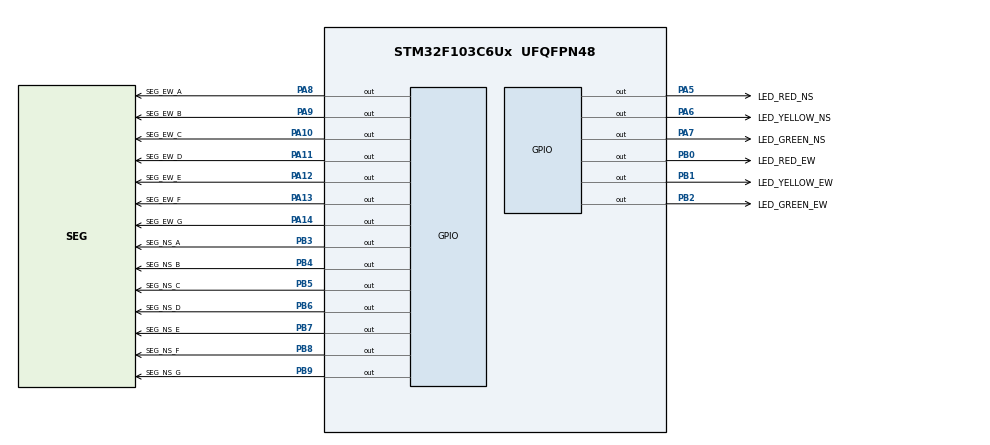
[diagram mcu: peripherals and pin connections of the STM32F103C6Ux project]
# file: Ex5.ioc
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Mcu.Family=STM32F1
Mcu.Name=STM32F103C6Ux
Mcu.Package=UFQFPN48
NVIC.PriorityGroup=NVIC_PRIORITYGROUP_4
PA10.GPIO_Label=SEG_EW_C
PA10.Signal=GPIO_Output
PA11.GPIO_Label=SEG_EW_D
PA11.Signal=GPIO_Output
PA12.GPIO_Label=SEG_EW_E
PA12.Signal=GPIO_Output
PA13.GPIO_Label=SEG_EW_F
PA13.Signal=GPIO_Output
PA14.GPIO_Label=SEG_EW_G
PA14.Signal=GPIO_Output
PA5.GPIO_Label=LED_RED_NS
PA5.Signal=GPIO_Output
PA6.GPIO_Label=LED_YELLOW_NS
PA6.Signal=GPIO_Output
PA7.GPIO_Label=LED_GREEN_NS
PA7.Signal=GPIO_Output
PA8.GPIO_Label=SEG_EW_A
PA8.Signal=GPIO_Output
PA9.GPIO_Label=SEG_EW_B
PA9.Signal=GPIO_Output
PB0.GPIO_Label=LED_RED_EW
PB0.Signal=GPIO_Output
PB1.GPIO_Label=LED_YELLOW_EW
PB1.Signal=GPIO_Output
PB2.GPIO_Label=LED_GREEN_EW
PB2.Signal=GPIO_Output
PB3.GPIO_Label=SEG_NS_A
PB3.Signal=GPIO_Output
PB4.GPIO_Label=SEG_NS_B
PB4.Signal=GPIO_Output
PB5.GPIO_Label=SEG_NS_C
PB5.Signal=GPIO_Output
PB6.GPIO_Label=SEG_NS_D
PB6.Signal=GPIO_Output
PB7.GPIO_Label=SEG_NS_E
PB7.Signal=GPIO_Output
PB8.GPIO_Label=SEG_NS_F
PB8.Signal=GPIO_Output
PB9.GPIO_Label=SEG_NS_G
PB9.Signal=GPIO_Output
ProjectManager.HeapSize=0x200
ProjectManager.StackSize=0x400
ProjectManager.TargetToolchain=STM32CubeIDE
RCC.APB1Freq_Value=8000000
RCC.APB2Freq_Value=8000000
VP_SYS_VS_ND.Mode=No_Debug
board=custom

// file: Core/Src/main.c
/* USER CODE BEGIN Header */
/**
  ******************************************************************************
  * @file           : main.c
  * @brief          : Main program body
  ******************************************************************************
  * @attention
  *
  * <h2><center>&copy; Copyright (c) 2026 STMicroelectronics.
  * All rights reserved.</center></h2>
  *
  * This software component is licensed by ST under BSD 3-Clause license,
  * the "License"; You may not use this file except in compliance with the
  * License. You may obtain a copy of the License at:
  *                        opensource.org/licenses/BSD-3-Clause
  *
  ******************************************************************************
  */
/* USER CODE END Header */
#include "main.h"

void SystemClock_Config(void);
static void MX_GPIO_Init(void);
/* USER CODE BEGIN PFP */
void display7SEG_NS(int num); // Hàm hiển thị LED 7 đoạn hướng Bắc - Nam
void display7SEG_EW(int num); // Hàm hiển thị LED 7 đoạn hướng Đông - Tây
/* USER CODE END PFP */

/* USER CODE BEGIN 0 */
// Hàm hiển thị LED 7 đoạn hướng Bắc - Nam (NS)
void display7SEG_NS(int num)
{
    if (num == 0)
    {
        HAL_GPIO_WritePin(SEG_NS_A_GPIO_Port, SEG_NS_A_Pin, GPIO_PIN_RESET);
        HAL_GPIO_WritePin(SEG_NS_B_GPIO_Port, SEG_NS_B_Pin, GPIO_PIN_RESET);
        HAL_GPIO_WritePin(SEG_NS_C_GPIO_Port, SEG_NS_C_Pin, GPIO_PIN_RESET);
        HAL_GPIO_WritePin(SEG_NS_D_GPIO_Port, SEG_NS_D_Pin, GPIO_PIN_RESET);
        HAL_GPIO_WritePin(SEG_NS_E_GPIO_Port, SEG_NS_E_Pin, GPIO_PIN_RESET);
        HAL_GPIO_WritePin(SEG_NS_F_GPIO_Port, SEG_NS_F_Pin, GPIO_PIN_RESET);
        HAL_GPIO_WritePin(SEG_NS_G_GPIO_Port, SEG_NS_G_Pin, GPIO_PIN_SET);
    }
    else if (num == 1)
    {
        HAL_GPIO_WritePin(SEG_NS_A_GPIO_Port, SEG_NS_A_Pin, GPIO_PIN_SET);
        HAL_GPIO_WritePin(SEG_NS_B_GPIO_Port, SEG_NS_B_Pin, GPIO_PIN_RESET);
        HAL_GPIO_WritePin(SEG_NS_C_GPIO_Port, SEG_NS_C_Pin, GPIO_PIN_RESET);
        HAL_GPIO_WritePin(SEG_NS_D_GPIO_Port, SEG_NS_D_Pin, GPIO_PIN_SET);
        HAL_GPIO_WritePin(SEG_NS_E_GPIO_Port, SEG_NS_E_Pin, GPIO_PIN_SET);
        HAL_GPIO_WritePin(SEG_NS_F_GPIO_Port, SEG_NS_F_Pin, GPIO_PIN_SET);
        HAL_GPIO_WritePin(SEG_NS_G_GPIO_Port, SEG_NS_G_Pin, GPIO_PIN_SET);
    }
    else if (num == 2)
    {
        HAL_GPIO_WritePin(SEG_NS_A_GPIO_Port, SEG_NS_A_Pin, GPIO_PIN_RESET);
        HAL_GPIO_WritePin(SEG_NS_B_GPIO_Port, SEG_NS_B_Pin, GPIO_PIN_RESET);
        HAL_GPIO_WritePin(SEG_NS_C_GPIO_Port, SEG_NS_C_Pin, GPIO_PIN_SET);
        HAL_GPIO_WritePin(SEG_NS_D_GPIO_Port, SEG_NS_D_Pin, GPIO_PIN_RESET);
        HAL_GPIO_WritePin(SEG_NS_E_GPIO_Port, SEG_NS_E_Pin, GPIO_PIN_RESET);
        HAL_GPIO_WritePin(SEG_NS_F_GPIO_Port, SEG_NS_F_Pin, GPIO_PIN_SET);
        HAL_GPIO_WritePin(SEG_NS_G_GPIO_Port, SEG_NS_G_Pin, GPIO_PIN_RESET);
    }
    else if (num == 3)
    {
        HAL_GPIO_WritePin(SEG_NS_A_GPIO_Port, SEG_NS_A_Pin, GPIO_PIN_RESET);
        HAL_GPIO_WritePin(SEG_NS_B_GPIO_Port, SEG_NS_B_Pin, GPIO_PIN_RESET);
        HAL_GPIO_WritePin(SEG_NS_C_GPIO_Port, SEG_NS_C_Pin, GPIO_PIN_RESET);
        HAL_GPIO_WritePin(SEG_NS_D_GPIO_Port, SEG_NS_D_Pin, GPIO_PIN_RESET);
        HAL_GPIO_WritePin(SEG_NS_E_GPIO_Port, SEG_NS_E_Pin, GPIO_PIN_SET);
        HAL_GPIO_WritePin(SEG_NS_F_GPIO_Port, SEG_NS_F_Pin, GPIO_PIN_SET);
        HAL_GPIO_WritePin(SEG_NS_G_GPIO_Port, SEG_NS_G_Pin, GPIO_PIN_RESET);
    }
    else if (num == 4)
    {
        HAL_GPIO_WritePin(SEG_NS_A_GPIO_Port, SEG_NS_A_Pin, GPIO_PIN_SET);
        HAL_GPIO_WritePin(SEG_NS_B_GPIO_Port, SEG_NS_B_Pin, GPIO_PIN_RESET);
        HAL_GPIO_WritePin(SEG_NS_C_GPIO_Port, SEG_NS_C_Pin, GPIO_PIN_RESET);
        HAL_GPIO_WritePin(SEG_NS_D_GPIO_Port, SEG_NS_D_Pin, GPIO_PIN_SET);
        HAL_GPIO_WritePin(SEG_NS_E_GPIO_Port, SEG_NS_E_Pin, GPIO_PIN_SET);
        HAL_GPIO_WritePin(SEG_NS_F_GPIO_Port, SEG_NS_F_Pin, GPIO_PIN_RESET);
        HAL_GPIO_WritePin(SEG_NS_G_GPIO_Port, SEG_NS_G_Pin, GPIO_PIN_RESET);
    }
    else if (num == 5)
    {
        HAL_GPIO_WritePin(SEG_NS_A_GPIO_Port, SEG_NS_A_Pin, GPIO_PIN_RESET);
        HAL_GPIO_WritePin(SEG_NS_B_GPIO_Port, SEG_NS_B_Pin, GPIO_PIN_SET);
        HAL_GPIO_WritePin(SEG_NS_C_GPIO_Port, SEG_NS_C_Pin, GPIO_PIN_RESET);
        HAL_GPIO_WritePin(SEG_NS_D_GPIO_Port, SEG_NS_D_Pin, GPIO_PIN_RESET);
        HAL_GPIO_WritePin(SEG_NS_E_GPIO_Port, SEG_NS_E_Pin, GPIO_PIN_SET);
        HAL_GPIO_WritePin(SEG_NS_F_GPIO_Port, SEG_NS_F_Pin, GPIO_PIN_RESET);
        HAL_GPIO_WritePin(SEG_NS_G_GPIO_Port, SEG_NS_G_Pin, GPIO_PIN_RESET);
    }
    else if (num == 6)
    {
        HAL_GPIO_WritePin(SEG_NS_A_GPIO_Port, SEG_NS_A_Pin, GPIO_PIN_RESET);
        HAL_GPIO_WritePin(SEG_NS_B_GPIO_Port, SEG_NS_B_Pin, GPIO_PIN_SET);
        HAL_GPIO_WritePin(SEG_NS_C_GPIO_Port, SEG_NS_C_Pin, GPIO_PIN_RESET);
        HAL_GPIO_WritePin(SEG_NS_D_GPIO_Port, SEG_NS_D_Pin, GPIO_PIN_RESET);
        HAL_GPIO_WritePin(SEG_NS_E_GPIO_Port, SEG_NS_E_Pin, GPIO_PIN_RESET);
        HAL_GPIO_WritePin(SEG_NS_F_GPIO_Port, SEG_NS_F_Pin, GPIO_PIN_RESET);
        HAL_GPIO_WritePin(SEG_NS_G_GPIO_Port, SEG_NS_G_Pin, GPIO_PIN_RESET);
    }
    else if (num == 7)
    {
        HAL_GPIO_WritePin(SEG_NS_A_GPIO_Port, SEG_NS_A_Pin, GPIO_PIN_RESET);
        HAL_GPIO_WritePin(SEG_NS_B_GPIO_Port, SEG_NS_B_Pin, GPIO_PIN_RESET);
        HAL_GPIO_WritePin(SEG_NS_C_GPIO_Port, SEG_NS_C_Pin, GPIO_PIN_RESET);
        HAL_GPIO_WritePin(SEG_NS_D_GPIO_Port, SEG_NS_D_Pin, GPIO_PIN_SET);
        HAL_GPIO_WritePin(SEG_NS_E_GPIO_Port, SEG_NS_E_Pin, GPIO_PIN_SET);
        HAL_GPIO_WritePin(SEG_NS_F_GPIO_Port, SEG_NS_F_Pin, GPIO_PIN_SET);
        HAL_GPIO_WritePin(SEG_NS_G_GPIO_Port, SEG_NS_G_Pin, GPIO_PIN_SET);
    }
    else if (num == 8)
    {
        HAL_GPIO_WritePin(SEG_NS_A_GPIO_Port, SEG_NS_A_Pin, GPIO_PIN_RESET);
        HAL_GPIO_WritePin(SEG_NS_B_GPIO_Port, SEG_NS_B_Pin, GPIO_PIN_RESET);
        HAL_GPIO_WritePin(SEG_NS_C_GPIO_Port, SEG_NS_C_Pin, GPIO_PIN_RESET);
        HAL_GPIO_WritePin(SEG_NS_D_GPIO_Port, SEG_NS_D_Pin, GPIO_PIN_RESET);
        HAL_GPIO_WritePin(SEG_NS_E_GPIO_Port, SEG_NS_E_Pin, GPIO_PIN_RESET);
        HAL_GPIO_WritePin(SEG_NS_F_GPIO_Port, SEG_NS_F_Pin, GPIO_PIN_RESET);
        HAL_GPIO_WritePin(SEG_NS_G_GPIO_Port, SEG_NS_G_Pin, GPIO_PIN_RESET);
    }
    else if (num == 9)
    {
        HAL_GPIO_WritePin(SEG_NS_A_GPIO_Port, SEG_NS_A_Pin, GPIO_PIN_RESET);
        HAL_GPIO_WritePin(SEG_NS_B_GPIO_Port, SEG_NS_B_Pin, GPIO_PIN_RESET);
        HAL_GPIO_WritePin(SEG_NS_C_GPIO_Port, SEG_NS_C_Pin, GPIO_PIN_RESET);
        HAL_GPIO_WritePin(SEG_NS_D_GPIO_Port, SEG_NS_D_Pin, GPIO_PIN_RESET);
        HAL_GPIO_WritePin(SEG_NS_E_GPIO_Port, SEG_NS_E_Pin, GPIO_PIN_SET);
        HAL_GPIO_WritePin(SEG_NS_F_GPIO_Port, SEG_NS_F_Pin, GPIO_PIN_RESET);
        HAL_GPIO_WritePin(SEG_NS_G_GPIO_Port, SEG_NS_G_Pin, GPIO_PIN_RESET);
    }
}

// Hàm hiển thị LED 7 đoạn hướng Đông - Tây (EW)
void display7SEG_EW(int num)
{
    if (num == 0)
    {
        HAL_GPIO_WritePin(SEG_EW_A_GPIO_Port, SEG_EW_A_Pin, GPIO_PIN_RESET);
        HAL_GPIO_WritePin(SEG_EW_B_GPIO_Port, SEG_EW_B_Pin, GPIO_PIN_RESET);
        HAL_GPIO_WritePin(SEG_EW_C_GPIO_Port, SEG_EW_C_Pin, GPIO_PIN_RESET);
        HAL_GPIO_WritePin(SEG_EW_D_GPIO_Port, SEG_EW_D_Pin, GPIO_PIN_RESET);
        HAL_GPIO_WritePin(SEG_EW_E_GPIO_Port, SEG_EW_E_Pin, GPIO_PIN_RESET);
        HAL_GPIO_WritePin(SEG_EW_F_GPIO_Port, SEG_EW_F_Pin, GPIO_PIN_RESET);
        HAL_GPIO_WritePin(SEG_EW_G_GPIO_Port, SEG_EW_G_Pin, GPIO_PIN_SET);
    }
    else if (num == 1)
    {
        HAL_GPIO_WritePin(SEG_EW_A_GPIO_Port, SEG_EW_A_Pin, GPIO_PIN_SET);
        HAL_GPIO_WritePin(SEG_EW_B_GPIO_Port, SEG_EW_B_Pin, GPIO_PIN_RESET);
        HAL_GPIO_WritePin(SEG_EW_C_GPIO_Port, SEG_EW_C_Pin, GPIO_PIN_RESET);
        HAL_GPIO_WritePin(SEG_EW_D_GPIO_Port, SEG_EW_D_Pin, GPIO_PIN_SET);
        HAL_GPIO_WritePin(SEG_EW_E_GPIO_Port, SEG_EW_E_Pin, GPIO_PIN_SET);
        HAL_GPIO_WritePin(SEG_EW_F_GPIO_Port, SEG_EW_F_Pin, GPIO_PIN_SET);
        HAL_GPIO_WritePin(SEG_EW_G_GPIO_Port, SEG_EW_G_Pin, GPIO_PIN_SET);
    }
    else if (num == 2)
    {
        HAL_GPIO_WritePin(SEG_EW_A_GPIO_Port, SEG_EW_A_Pin, GPIO_PIN_RESET);
        HAL_GPIO_WritePin(SEG_EW_B_GPIO_Port, SEG_EW_B_Pin, GPIO_PIN_RESET);
        HAL_GPIO_WritePin(SEG_EW_C_GPIO_Port, SEG_EW_C_Pin, GPIO_PIN_SET);
        HAL_GPIO_WritePin(SEG_EW_D_GPIO_Port, SEG_EW_D_Pin, GPIO_PIN_RESET);
        HAL_GPIO_WritePin(SEG_EW_E_GPIO_Port, SEG_EW_E_Pin, GPIO_PIN_RESET);
        HAL_GPIO_WritePin(SEG_EW_F_GPIO_Port, SEG_EW_F_Pin, GPIO_PIN_SET);
        HAL_GPIO_WritePin(SEG_EW_G_GPIO_Port, SEG_EW_G_Pin, GPIO_PIN_RESET);
    }
    else if (num == 3)
    {
        HAL_GPIO_WritePin(SEG_EW_A_GPIO_Port, SEG_EW_A_Pin, GPIO_PIN_RESET);
        HAL_GPIO_WritePin(SEG_EW_B_GPIO_Port, SEG_EW_B_Pin, GPIO_PIN_RESET);
        HAL_GPIO_WritePin(SEG_EW_C_GPIO_Port, SEG_EW_C_Pin, GPIO_PIN_RESET);
        HAL_GPIO_WritePin(SEG_EW_D_GPIO_Port, SEG_EW_D_Pin, GPIO_PIN_RESET);
        HAL_GPIO_WritePin(SEG_EW_E_GPIO_Port, SEG_EW_E_Pin, GPIO_PIN_SET);
        HAL_GPIO_WritePin(SEG_EW_F_GPIO_Port, SEG_EW_F_Pin, GPIO_PIN_SET);
        HAL_GPIO_WritePin(SEG_EW_G_GPIO_Port, SEG_EW_G_Pin, GPIO_PIN_RESET);
    }
    else if (num == 4)
    {
        HAL_GPIO_WritePin(SEG_EW_A_GPIO_Port, SEG_EW_A_Pin, GPIO_PIN_SET);
        HAL_GPIO_WritePin(SEG_EW_B_GPIO_Port, SEG_EW_B_Pin, GPIO_PIN_RESET);
        HAL_GPIO_WritePin(SEG_EW_C_GPIO_Port, SEG_EW_C_Pin, GPIO_PIN_RESET);
        HAL_GPIO_WritePin(SEG_EW_D_GPIO_Port, SEG_EW_D_Pin, GPIO_PIN_SET);
        HAL_GPIO_WritePin(SEG_EW_E_GPIO_Port, SEG_EW_E_Pin, GPIO_PIN_SET);
        HAL_GPIO_WritePin(SEG_EW_F_GPIO_Port, SEG_EW_F_Pin, GPIO_PIN_RESET);
        HAL_GPIO_WritePin(SEG_EW_G_GPIO_Port, SEG_EW_G_Pin, GPIO_PIN_RESET);
    }
    else if (num == 5)
    {
        HAL_GPIO_WritePin(SEG_EW_A_GPIO_Port, SEG_EW_A_Pin, GPIO_PIN_RESET);
        HAL_GPIO_WritePin(SEG_EW_B_GPIO_Port, SEG_EW_B_Pin, GPIO_PIN_SET);
        HAL_GPIO_WritePin(SEG_EW_C_GPIO_Port, SEG_EW_C_Pin, GPIO_PIN_RESET);
        HAL_GPIO_WritePin(SEG_EW_D_GPIO_Port, SEG_EW_D_Pin, GPIO_PIN_RESET);
        HAL_GPIO_WritePin(SEG_EW_E_GPIO_Port, SEG_EW_E_Pin, GPIO_PIN_SET);
        HAL_GPIO_WritePin(SEG_EW_F_GPIO_Port, SEG_EW_F_Pin, GPIO_PIN_RESET);
        HAL_GPIO_WritePin(SEG_EW_G_GPIO_Port, SEG_EW_G_Pin, GPIO_PIN_RESET);
    }
    else if (num == 6)
    {
        HAL_GPIO_WritePin(SEG_EW_A_GPIO_Port, SEG_EW_A_Pin, GPIO_PIN_RESET);
        HAL_GPIO_WritePin(SEG_EW_B_GPIO_Port, SEG_EW_B_Pin, GPIO_PIN_SET);
        HAL_GPIO_WritePin(SEG_EW_C_GPIO_Port, SEG_EW_C_Pin, GPIO_PIN_RESET);
        HAL_GPIO_WritePin(SEG_EW_D_GPIO_Port, SEG_EW_D_Pin, GPIO_PIN_RESET);
        HAL_GPIO_WritePin(SEG_EW_E_GPIO_Port, SEG_EW_E_Pin, GPIO_PIN_RESET);
        HAL_GPIO_WritePin(SEG_EW_F_GPIO_Port, SEG_EW_F_Pin, GPIO_PIN_RESET);
        HAL_GPIO_WritePin(SEG_EW_G_GPIO_Port, SEG_EW_G_Pin, GPIO_PIN_RESET);
    }
    else if (num == 7)
    {
        HAL_GPIO_WritePin(SEG_EW_A_GPIO_Port, SEG_EW_A_Pin, GPIO_PIN_RESET);
        HAL_GPIO_WritePin(SEG_EW_B_GPIO_Port, SEG_EW_B_Pin, GPIO_PIN_RESET);
        HAL_GPIO_WritePin(SEG_EW_C_GPIO_Port, SEG_EW_C_Pin, GPIO_PIN_RESET);
        HAL_GPIO_WritePin(SEG_EW_D_GPIO_Port, SEG_EW_D_Pin, GPIO_PIN_SET);
        HAL_GPIO_WritePin(SEG_EW_E_GPIO_Port, SEG_EW_E_Pin, GPIO_PIN_SET);
        HAL_GPIO_WritePin(SEG_EW_F_GPIO_Port, SEG_EW_F_Pin, GPIO_PIN_SET);
        HAL_GPIO_WritePin(SEG_EW_G_GPIO_Port, SEG_EW_G_Pin, GPIO_PIN_SET);
    }
    else if (num == 8)
    {
        HAL_GPIO_WritePin(SEG_EW_A_GPIO_Port, SEG_EW_A_Pin, GPIO_PIN_RESET);
        HAL_GPIO_WritePin(SEG_EW_B_GPIO_Port, SEG_EW_B_Pin, GPIO_PIN_RESET);
        HAL_GPIO_WritePin(SEG_EW_C_GPIO_Port, SEG_EW_C_Pin, GPIO_PIN_RESET);
        HAL_GPIO_WritePin(SEG_EW_D_GPIO_Port, SEG_EW_D_Pin, GPIO_PIN_RESET);
        HAL_GPIO_WritePin(SEG_EW_E_GPIO_Port, SEG_EW_E_Pin, GPIO_PIN_RESET);
        HAL_GPIO_WritePin(SEG_EW_F_GPIO_Port, SEG_EW_F_Pin, GPIO_PIN_RESET);
        HAL_GPIO_WritePin(SEG_EW_G_GPIO_Port, SEG_EW_G_Pin, GPIO_PIN_RESET);
    }
    else if (num == 9)
    {
        HAL_GPIO_WritePin(SEG_EW_A_GPIO_Port, SEG_EW_A_Pin, GPIO_PIN_RESET);
        HAL_GPIO_WritePin(SEG_EW_B_GPIO_Port, SEG_EW_B_Pin, GPIO_PIN_RESET);
        HAL_GPIO_WritePin(SEG_EW_C_GPIO_Port, SEG_EW_C_Pin, GPIO_PIN_RESET);
        HAL_GPIO_WritePin(SEG_EW_D_GPIO_Port, SEG_EW_D_Pin, GPIO_PIN_RESET);
        HAL_GPIO_WritePin(SEG_EW_E_GPIO_Port, SEG_EW_E_Pin, GPIO_PIN_SET);
        HAL_GPIO_WritePin(SEG_EW_F_GPIO_Port, SEG_EW_F_Pin, GPIO_PIN_RESET);
        HAL_GPIO_WritePin(SEG_EW_G_GPIO_Port, SEG_EW_G_Pin, GPIO_PIN_RESET);
    }
}
/* USER CODE END 0 */

int main(void)
{

  /* MCU Configuration--------------------------------------------------------*/

  /* Reset of all peripherals, Initializes the Flash interface and the Systick. */
  HAL_Init();

  /* Configure the system clock */
  SystemClock_Config();

  /* Initialize all configured peripherals */
  MX_GPIO_Init();
  /* USER CODE BEGIN 2 */
  int counter = 0;
  int countdown_NS = 0;
  int countdown_EW = 0;
  /* USER CODE END 2 */

  /* Infinite loop */
  /* USER CODE BEGIN WHILE */
  while (1)
  {
	  if (counter < 3)
	  {
		  // Pha 1 (3s): Bắc-Nam XANH, Đông-Tây ĐỎ
		  HAL_GPIO_WritePin(LED_GREEN_NS_GPIO_Port, LED_GREEN_NS_Pin, GPIO_PIN_RESET);
		  HAL_GPIO_WritePin(LED_YELLOW_NS_GPIO_Port, LED_YELLOW_NS_Pin, GPIO_PIN_SET);
		  HAL_GPIO_WritePin(LED_RED_NS_GPIO_Port, LED_RED_NS_Pin, GPIO_PIN_SET);

		  HAL_GPIO_WritePin(LED_GREEN_EW_GPIO_Port, LED_GREEN_EW_Pin, GPIO_PIN_SET);
		  HAL_GPIO_WritePin(LED_YELLOW_EW_GPIO_Port, LED_YELLOW_EW_Pin, GPIO_PIN_SET);
		  HAL_GPIO_WritePin(LED_RED_EW_GPIO_Port, LED_RED_EW_Pin, GPIO_PIN_RESET);

		  countdown_NS = 3 - counter; // NS đếm 3, 2, 1
		  countdown_EW = 5 - counter; // EW đếm 5, 4, 3
	  }
	  else if (counter < 5)
	  {
		  // Pha 2 (2s): Bắc-Nam VÀNG, Đông-Tây ĐỎ
		  HAL_GPIO_WritePin(LED_GREEN_NS_GPIO_Port, LED_GREEN_NS_Pin, GPIO_PIN_SET);
		  HAL_GPIO_WritePin(LED_YELLOW_NS_GPIO_Port, LED_YELLOW_NS_Pin, GPIO_PIN_RESET);
		  HAL_GPIO_WritePin(LED_RED_NS_GPIO_Port, LED_RED_NS_Pin, GPIO_PIN_SET);

		  HAL_GPIO_WritePin(LED_RED_EW_GPIO_Port, LED_RED_EW_Pin, GPIO_PIN_RESET);

		  countdown_NS = 5 - counter; // NS đếm 2, 1
		  countdown_EW = 5 - counter; // EW đếm 2, 1
	  }
	  else if (counter < 8)
	  {
		  // Pha 3 (3s): Bắc-Nam ĐỎ, Đông-Tây XANH
		  HAL_GPIO_WritePin(LED_GREEN_NS_GPIO_Port, LED_GREEN_NS_Pin, GPIO_PIN_SET);
		  HAL_GPIO_WritePin(LED_YELLOW_NS_GPIO_Port, LED_YELLOW_NS_Pin, GPIO_PIN_SET);
		  HAL_GPIO_WritePin(LED_RED_NS_GPIO_Port, LED_RED_NS_Pin, GPIO_PIN_RESET);

		  HAL_GPIO_WritePin(LED_GREEN_EW_GPIO_Port, LED_GREEN_EW_Pin, GPIO_PIN_RESET);
		  HAL_GPIO_WritePin(LED_YELLOW_EW_GPIO_Port, LED_YELLOW_EW_Pin, GPIO_PIN_SET);
		  HAL_GPIO_WritePin(LED_RED_EW_GPIO_Port, LED_RED_EW_Pin, GPIO_PIN_SET);

		  countdown_NS = 10 - counter; // NS đếm 5, 4, 3
		  countdown_EW = 8 - counter;  // EW đếm 3, 2, 1
	  }
	  else if (counter < 10)
	  {
		  // Pha 4 (2s): Bắc-Nam ĐỎ, Đông-Tây VÀNG
		  HAL_GPIO_WritePin(LED_RED_NS_GPIO_Port, LED_RED_NS_Pin, GPIO_PIN_RESET);

		  HAL_GPIO_WritePin(LED_GREEN_EW_GPIO_Port, LED_GREEN_EW_Pin, GPIO_PIN_SET);
		  HAL_GPIO_WritePin(LED_YELLOW_EW_GPIO_Port, LED_YELLOW_EW_Pin, GPIO_PIN_RESET);
		  HAL_GPIO_WritePin(LED_RED_EW_GPIO_Port, LED_RED_EW_Pin, GPIO_PIN_SET);

		  countdown_NS = 10 - counter; // NS đếm 2, 1
		  countdown_EW = 10 - counter; // EW đếm 2, 1
	  }

	  display7SEG_NS(countdown_NS);
	  display7SEG_EW(countdown_EW);

	  counter++;
	  if (counter >= 10) counter = 0;

	  HAL_Delay(1000);
    /* USER CODE END WHILE */

  }
}

void SystemClock_Config(void)
{
  RCC_OscInitTypeDef RCC_OscInitStruct = {0};
  RCC_ClkInitTypeDef RCC_ClkInitStruct = {0};

  /** Initializes the RCC Oscillators according to the specified parameters
  * in the RCC_OscInitTypeDef structure.
  */
  RCC_OscInitStruct.OscillatorType = RCC_OSCILLATORTYPE_HSI;
  RCC_OscInitStruct.HSIState = RCC_HSI_ON;
  RCC_OscInitStruct.HSICalibrationValue = RCC_HSICALIBRATION_DEFAULT;
  RCC_OscInitStruct.PLL.PLLState = RCC_PLL_NONE;
  if (HAL_RCC_OscConfig(&RCC_OscInitStruct) != HAL_OK)
  {
    Error_Handler();
  }
  /** Initializes the CPU, AHB and APB buses clocks
  */
  RCC_ClkInitStruct.ClockType = RCC_CLOCKTYPE_HCLK|RCC_CLOCKTYPE_SYSCLK
                              |RCC_CLOCKTYPE_PCLK1|RCC_CLOCKTYPE_PCLK2;
  RCC_ClkInitStruct.SYSCLKSource = RCC_SYSCLKSOURCE_HSI;
  RCC_ClkInitStruct.AHBCLKDivider = RCC_SYSCLK_DIV1;
  RCC_ClkInitStruct.APB1CLKDivider = RCC_HCLK_DIV1;
  RCC_ClkInitStruct.APB2CLKDivider = RCC_HCLK_DIV1;

  if (HAL_RCC_ClockConfig(&RCC_ClkInitStruct, FLASH_LATENCY_0) != HAL_OK)
  {
    Error_Handler();
  }
}

static void MX_GPIO_Init(void)
{
  GPIO_InitTypeDef GPIO_InitStruct = {0};

  /* GPIO Ports Clock Enable */
  __HAL_RCC_GPIOA_CLK_ENABLE();
  __HAL_RCC_GPIOB_CLK_ENABLE();

  /*Configure GPIO pin Output Level */
  HAL_GPIO_WritePin(GPIOA, LED_RED_NS_Pin|LED_YELLOW_NS_Pin|LED_GREEN_NS_Pin|SEG_EW_A_Pin
                          |SEG_EW_B_Pin|SEG_EW_C_Pin|SEG_EW_D_Pin|SEG_EW_E_Pin
                          |SEG_EW_F_Pin|SEG_EW_G_Pin, GPIO_PIN_RESET);

  /*Configure GPIO pin Output Level */
  HAL_GPIO_WritePin(GPIOB, LED_RED_EW_Pin|LED_YELLOW_EW_Pin|LED_GREEN_EW_Pin|SEG_NS_A_Pin
                          |SEG_NS_B_Pin|SEG_NS_C_Pin|SEG_NS_D_Pin|SEG_NS_E_Pin
                          |SEG_NS_F_Pin|SEG_NS_G_Pin, GPIO_PIN_RESET);

  /*Configure GPIO pins : LED_RED_NS_Pin LED_YELLOW_NS_Pin LED_GREEN_NS_Pin SEG_EW_A_Pin
                           SEG_EW_B_Pin SEG_EW_C_Pin SEG_EW_D_Pin SEG_EW_E_Pin
                           SEG_EW_F_Pin SEG_EW_G_Pin */
  GPIO_InitStruct.Pin = LED_RED_NS_Pin|LED_YELLOW_NS_Pin|LED_GREEN_NS_Pin|SEG_EW_A_Pin
                          |SEG_EW_B_Pin|SEG_EW_C_Pin|SEG_EW_D_Pin|SEG_EW_E_Pin
                          |SEG_EW_F_Pin|SEG_EW_G_Pin;
  GPIO_InitStruct.Mode = GPIO_MODE_OUTPUT_PP;
  GPIO_InitStruct.Pull = GPIO_NOPULL;
  GPIO_InitStruct.Speed = GPIO_SPEED_FREQ_LOW;
  HAL_GPIO_Init(GPIOA, &GPIO_InitStruct);

  /*Configure GPIO pins : LED_RED_EW_Pin LED_YELLOW_EW_Pin LED_GREEN_EW_Pin SEG_NS_A_Pin
                           SEG_NS_B_Pin SEG_NS_C_Pin SEG_NS_D_Pin SEG_NS_E_Pin
                           SEG_NS_F_Pin SEG_NS_G_Pin */
  GPIO_InitStruct.Pin = LED_RED_EW_Pin|LED_YELLOW_EW_Pin|LED_GREEN_EW_Pin|SEG_NS_A_Pin
                          |SEG_NS_B_Pin|SEG_NS_C_Pin|SEG_NS_D_Pin|SEG_NS_E_Pin
                          |SEG_NS_F_Pin|SEG_NS_G_Pin;
  GPIO_InitStruct.Mode = GPIO_MODE_OUTPUT_PP;
  GPIO_InitStruct.Pull = GPIO_NOPULL;
  GPIO_InitStruct.Speed = GPIO_SPEED_FREQ_LOW;
  HAL_GPIO_Init(GPIOB, &GPIO_InitStruct);

}

void Error_Handler(void)
{
  __disable_irq();
  while (1)
  {
  }
}

/************************ (C) COPYRIGHT STMicroelectronics *****END OF FILE****/
